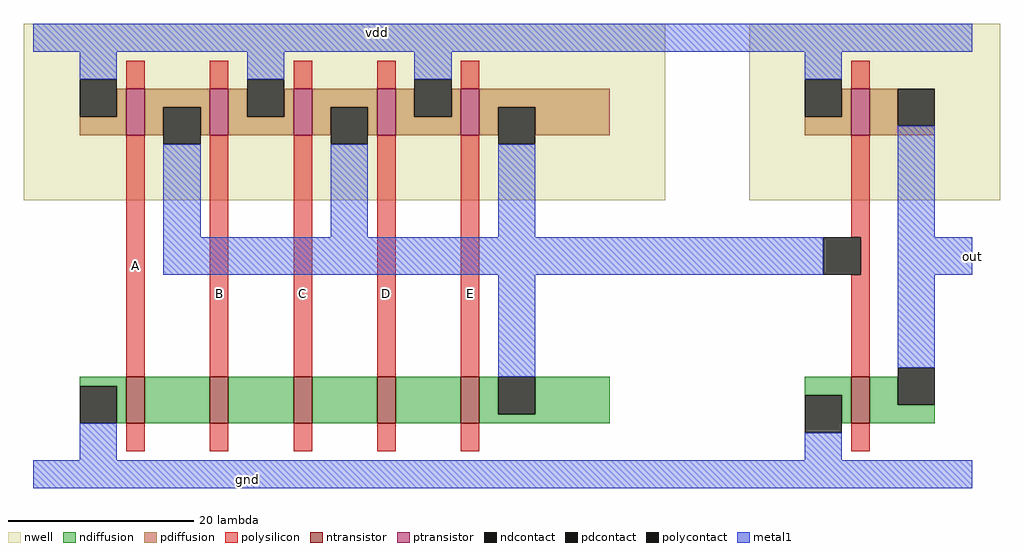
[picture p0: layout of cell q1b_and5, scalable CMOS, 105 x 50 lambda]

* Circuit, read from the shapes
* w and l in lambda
.subckt q1b_and5 A B C D E gnd out vdd
M1 n1 A gnd VSUBS nfet w=5 l=2
M2 n2 B n1 VSUBS nfet w=5 l=2
M3 n3 C n2 VSUBS nfet w=5 l=2
M4 n4 D n3 VSUBS nfet w=5 l=2
M5 n5 E n4 VSUBS nfet w=5 l=2
M6 out n5 gnd VSUBS nfet w=5 l=2
M7 n5 A vdd n6 pfet w=5 l=2
M8 vdd B n5 n6 pfet w=5 l=2
M9 n5 C vdd n6 pfet w=5 l=2
M10 vdd D n5 n6 pfet w=5 l=2
M11 n5 E vdd n6 pfet w=5 l=2
M12 out n5 vdd n7 pfet w=5 l=2
.ends

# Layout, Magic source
magic
tech scmos
<< nwell >>
rect -332 242 -263 261
rect -254 242 -227 261
<< ntransistor >>
rect -321 218 -319 223
rect -312 218 -310 223
rect -303 218 -301 223
rect -294 218 -292 223
rect -285 218 -283 223
rect -243 218 -241 223
<< ptransistor >>
rect -321 249 -319 254
rect -312 249 -310 254
rect -303 249 -301 254
rect -294 249 -292 254
rect -285 249 -283 254
rect -243 249 -241 254
<< ndiffusion >>
rect -326 222 -321 223
rect -322 218 -321 222
rect -319 218 -312 223
rect -310 218 -303 223
rect -301 218 -294 223
rect -292 218 -285 223
rect -283 219 -281 223
rect -277 219 -269 223
rect -283 218 -269 219
rect -248 221 -243 223
rect -244 218 -243 221
rect -241 220 -238 223
rect -241 218 -234 220
<< pdiffusion >>
rect -322 251 -321 254
rect -326 249 -321 251
rect -319 252 -312 254
rect -319 249 -317 252
rect -313 249 -312 252
rect -310 251 -308 254
rect -304 251 -303 254
rect -310 249 -303 251
rect -301 252 -294 254
rect -301 249 -299 252
rect -295 249 -294 252
rect -292 251 -290 254
rect -286 251 -285 254
rect -292 249 -285 251
rect -283 252 -269 254
rect -283 249 -281 252
rect -277 249 -269 252
rect -244 251 -243 254
rect -248 249 -243 251
rect -241 250 -238 254
rect -241 249 -234 250
<< ndcontact >>
rect -326 218 -322 222
rect -281 219 -277 223
rect -248 217 -244 221
rect -238 220 -234 224
<< pdcontact >>
rect -326 251 -322 255
rect -317 248 -313 252
rect -308 251 -304 255
rect -299 248 -295 252
rect -290 251 -286 255
rect -281 248 -277 252
rect -248 251 -244 255
rect -238 250 -234 254
<< polysilicon >>
rect -321 254 -319 257
rect -312 254 -310 257
rect -321 223 -319 249
rect -303 254 -301 257
rect -294 254 -292 257
rect -312 223 -310 249
rect -303 223 -301 249
rect -285 254 -283 257
rect -294 223 -292 249
rect -285 223 -283 249
rect -243 254 -241 257
rect -243 238 -241 249
rect -242 234 -241 238
rect -243 223 -241 234
rect -321 215 -319 218
rect -312 215 -310 218
rect -303 215 -301 218
rect -294 215 -292 218
rect -285 215 -283 218
rect -243 215 -241 218
<< polycontact >>
rect -246 234 -242 238
<< metal1 >>
rect -331 258 -230 261
rect -326 255 -322 258
rect -308 255 -304 258
rect -290 255 -286 258
rect -317 238 -313 248
rect -248 255 -244 258
rect -299 238 -295 248
rect -281 238 -277 248
rect -238 238 -234 250
rect -317 234 -246 238
rect -238 234 -230 238
rect -281 223 -277 234
rect -238 224 -234 234
rect -326 214 -322 218
rect -248 214 -244 217
rect -331 211 -230 214
<< labels >>
rlabel metal1 -308 212 -308 212 1 gnd
rlabel metal1 -294 260 -294 260 5 vdd
rlabel polysilicon -320 235 -320 235 1 A
rlabel polysilicon -311 232 -311 232 1 B
rlabel polysilicon -302 232 -302 232 1 C
rlabel polysilicon -293 232 -293 232 1 D
rlabel polysilicon -284 232 -284 232 1 E
rlabel metal1 -230 234 -230 238 7 out
<< end >>
